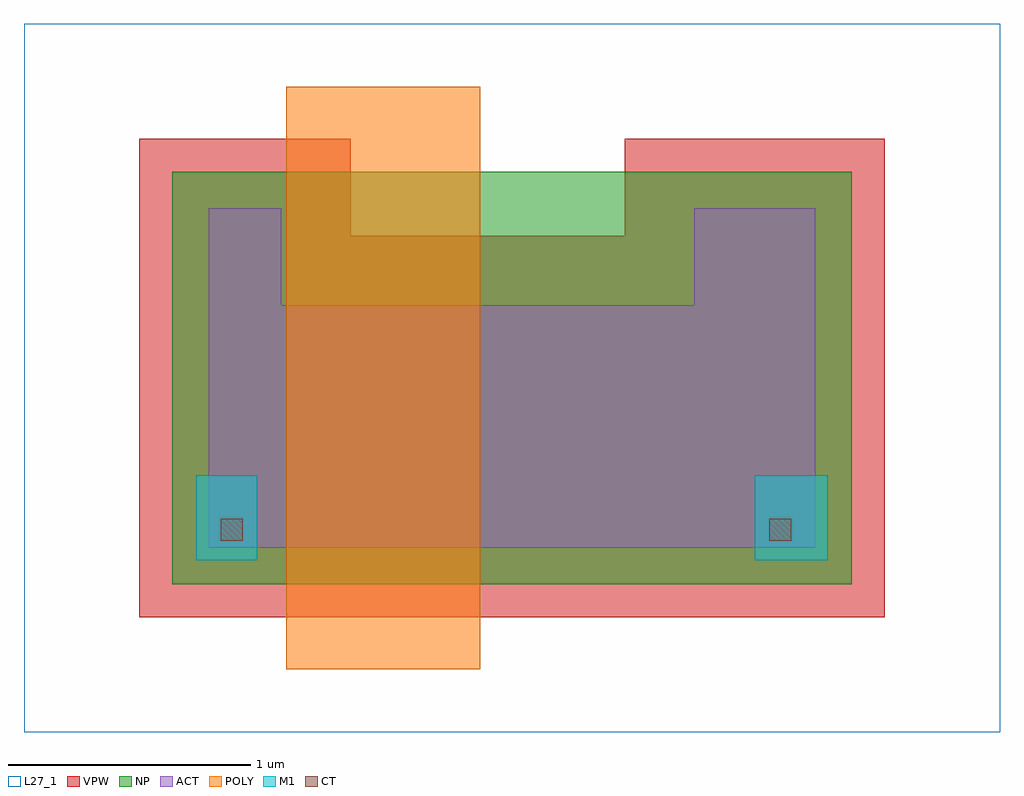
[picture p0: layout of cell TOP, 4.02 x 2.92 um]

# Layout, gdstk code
import gdstk
lib = gdstk.Library(unit=1e-6, precision=1e-09)
def R(c, l, rs):  # rectangles x0, y0, x1, y1
    for r in rs: c.add(gdstk.rectangle(r[:2], r[2:], *l))
def P(c, l, *ps):  # polygons
    for p in ps: c.add(gdstk.Polygon(p, *l))
ACT = (2, 1)
L27_1 = (27, 1)
POLY = (41, 1)
NP = (52, 1)
CT = (72, 1)
M1 = (81, 1)
VPW = (261, 12)

top = lib.new_cell('TOP')
P(top, ACT, [(0,0),(0,1.4),(0.3,1.4),(0.3,1),(2,1),(2,1.4),(2.5,1.4),(2.5,0)])
R(top, L27_1, [(-0.76,-0.76,3.26,2.16)])
R(top, POLY, [(0.32,-0.5,1.12,1.9)])
R(top, NP, [(-0.15,-0.15,2.65,1.55)])
R(top, CT, [(0.05,0.03,0.14,0.12), (2.31,0.03,2.4,0.12)])
R(top, M1, [(-0.05,-0.05,0.2,0.3), (2.25,-0.05,2.55,0.3)])
P(top, VPW, [(-0.285,-0.285),(-0.285,1.685),(0.585,1.685),(0.585,1.285),(1.715,1.285),(1.715,1.685),(2.785,1.685),(2.785,-0.285)])

lib.write_gds('TOP.gds')
